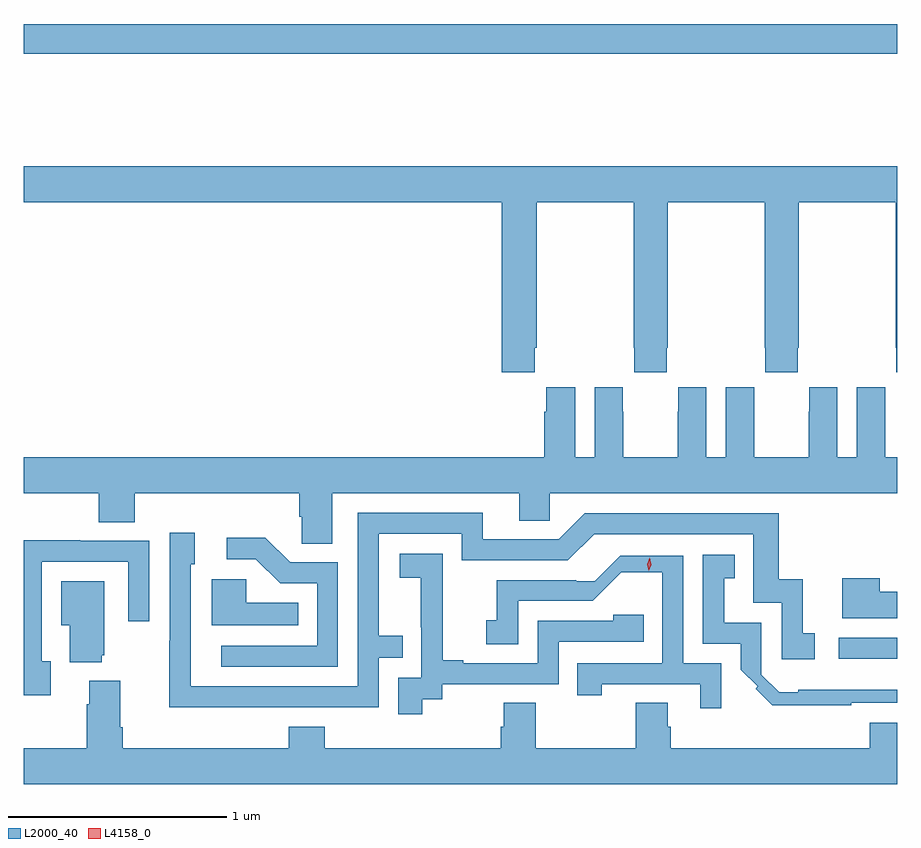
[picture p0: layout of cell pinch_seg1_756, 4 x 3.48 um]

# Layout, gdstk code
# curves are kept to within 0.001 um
import gdstk
lib = gdstk.Library(unit=1e-6, precision=1e-09)
def R(c, l, rs):  # rectangles x0, y0, x1, y1
    for r in rs: c.add(gdstk.rectangle(r[:2], r[2:], *l))
def P(c, l, *ps):  # polygons
    for p in ps: c.add(gdstk.Polygon(p, *l))
L2000_40 = (2000, 40)
L4158_0 = (4158, 0)

pinch_seg1_756 = lib.new_cell('pinch_seg1_756')
R(pinch_seg1_756, L2000_40, [(864.849,504.353,865.118,504.45), (861.118,507.124,865.118,507.26)])
P(pinch_seg1_756, L2000_40, [(863.459,505.777),(863.466,505.777),(863.466,506.444),(863.911,506.444),(863.911,505.777),(863.913,505.777),(863.913,505.665),(864.063,505.665),(864.063,505.777),(864.066,505.777),(864.066,506.444),(864.511,506.444),(864.511,505.777),(864.513,505.777),(864.513,505.665),(864.663,505.665),(864.663,505.777),(864.666,505.777),(864.666,506.444),(865.111,506.444),(865.111,505.777),(865.113,505.777),(865.113,505.665),(865.118,505.665),(865.118,506.608),(861.118,506.608),(861.118,506.444),(863.306,506.444),(863.306,505.665),(863.459,505.665)],
  [(865.118,505.276),(865.063,505.276),(865.063,505.484),(865.062,505.484),(865.062,505.597),(864.932,505.597),(864.932,505.276),(864.844,505.276),(864.844,505.597),(864.714,505.597),(864.714,505.484),(864.713,505.484),(864.713,505.276),(864.463,505.276),(864.463,505.484),(864.462,505.484),(864.462,505.597),(864.332,505.597),(864.332,505.276),(864.244,505.276),(864.244,505.597),(864.114,505.597),(864.114,505.484),(864.113,505.484),(864.113,505.276),(863.863,505.276),(863.863,505.484),(863.862,505.484),(863.862,505.597),(863.732,505.597),(863.732,505.276),(863.644,505.276),(863.644,505.597),(863.51,505.597),(863.51,505.484),(863.501,505.484),(863.501,505.276),(861.118,505.276),(861.118,505.112),(861.461,505.112),(861.461,504.979),(861.626,504.979),(861.626,505.112),(862.379,505.112),(862.379,505.003),(862.392,505.003),(862.392,504.88),(862.531,504.88),(862.531,505.112),(863.387,505.112),(863.387,504.985),(863.526,504.985),(863.526,505.112),(865.118,505.112)],
  [(862.247,504.132),(862.743,504.132),(862.743,504.357),(862.853,504.357),(862.853,504.458),(862.743,504.458),(862.743,504.927),(863.124,504.927),(863.124,504.804),(863.61,504.804),(863.73,504.924),(864.459,504.924),(864.459,504.609),(864.588,504.609),(864.588,504.351),(864.739,504.351),(864.739,504.471),(864.686,504.471),(864.686,504.718),(864.575,504.718),(864.575,505.02),(863.688,505.02),(863.568,504.9),(863.221,504.9),(863.221,505.023),(862.647,505.023),(862.647,504.228),(861.883,504.228),(861.882,504.786),(861.901,504.786),(861.901,504.931),(861.786,504.931),(861.786,504.437),(861.784,504.437),(861.784,504.131)],
  [(862.557,504.795),(862.338,504.795),(862.225,504.908),(862.047,504.908),(862.047,504.81),(862.181,504.81),(862.292,504.699),(862.461,504.699),(862.461,504.414),(862.023,504.414),(862.023,504.318),(862.557,504.318)],
  [(861.241,504.342),(861.201,504.342),(861.201,504.798),(861.597,504.798),(861.597,504.525),(861.693,504.525),(861.693,504.894),(861.377,504.894),(861.377,504.896),(861.118,504.896),(861.118,504.186),(861.241,504.186)],
  [(862.942,504.169),(863.034,504.169),(863.034,504.237),(863.568,504.237),(863.568,504.432),(863.957,504.432),(863.957,504.555),(863.817,504.555),(863.817,504.528),(863.472,504.528),(863.472,504.333),(863.131,504.333),(863.131,504.346),(863.036,504.346),(863.036,504.629),(863.037,504.629),(863.037,504.835),(862.839,504.835),(862.839,504.725),(862.937,504.725),(862.937,504.497),(862.938,504.497),(862.938,504.267),(862.833,504.267),(862.833,504.099),(862.942,504.099)],
  [(864.908,504.153),(865.118,504.153),(865.118,504.212),(864.665,504.212),(864.665,504.199),(864.577,504.199),(864.495,504.281),(864.495,504.519),(864.325,504.519),(864.325,504.723),(864.374,504.723),(864.374,504.829),(864.228,504.829),(864.228,504.423),(864.402,504.423),(864.402,504.304),(864.479,504.227),(864.469,504.217),(864.546,504.14),(864.908,504.14)],
  [(864.312,504.333),(864.138,504.333),(864.138,504.825),(863.85,504.825),(863.733,504.708),(863.649,504.708),(863.649,504.714),(863.284,504.714),(863.284,504.529),(863.235,504.529),(863.235,504.42),(863.382,504.42),(863.382,504.618),(863.724,504.618),(863.855,504.749),(864.041,504.749),(864.042,504.333),(863.653,504.333),(863.653,504.186),(863.764,504.186),(863.764,504.237),(864.215,504.237),(864.215,504.126),(864.312,504.126)],
  [(865.118,504.661),(865.037,504.661),(865.037,504.721),(864.866,504.721),(864.866,504.539),(865.118,504.539)],
  [(862.376,504.61),(862.137,504.61),(862.137,504.718),(861.98,504.718),(861.98,504.506),(862.376,504.506)],
  [(861.476,504.369),(861.487,504.369),(861.487,504.709),(861.29,504.709),(861.29,504.506),(861.329,504.506),(861.329,504.338),(861.476,504.338)],
  [(865.118,504.061),(864.992,504.061),(864.992,503.944),(864.08,503.944),(864.08,504.042),(864.067,504.042),(864.067,504.152),(863.92,504.152),(863.92,503.944),(863.463,503.944),(863.463,504.152),(863.315,504.152),(863.315,504.042),(863.303,504.042),(863.303,503.944),(862.496,503.944),(862.496,504.043),(862.331,504.043),(862.331,503.944),(861.572,503.944),(861.572,504.04),(861.559,504.04),(861.559,504.253),(861.419,504.253),(861.419,504.146),(861.407,504.146),(861.407,503.944),(861.118,503.944),(861.118,503.78),(865.118,503.78)])
P(pinch_seg1_756, L4158_0, [(863.98,504.756),(863.98,504.756),(863.972,504.787),(863.984,504.816),(863.985,504.816),(863.985,504.816),(863.992,504.785),(863.98,504.756)])

lib.write_gds('pinch_seg1_756.gds')
